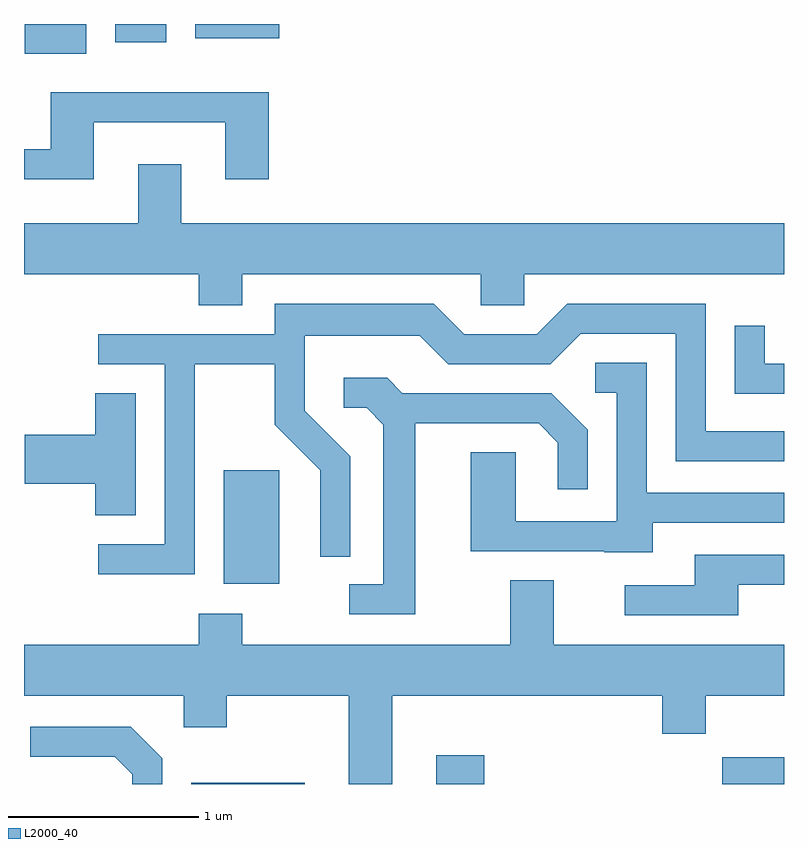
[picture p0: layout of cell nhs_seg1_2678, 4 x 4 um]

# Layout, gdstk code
import gdstk
lib = gdstk.Library(unit=1e-6, precision=1e-09)
def R(c, l, rs):  # rectangles x0, y0, x1, y1
    for r in rs: c.add(gdstk.rectangle(r[:2], r[2:], *l))
def P(c, l, *ps):  # polygons
    for p in ps: c.add(gdstk.Polygon(p, *l))
L2000_40 = (2000, 40)

nhs_seg1_2678 = lib.new_cell('nhs_seg1_2678')
R(nhs_seg1_2678, L2000_40, [(266.491,965.712,267.089,965.719), (267.781,965.712,268.034,965.864), (269.286,965.712,269.611,965.854), (266.661,966.766,266.954,967.364), (265.616,969.556,265.939,969.712), (266.091,969.616,266.359,969.712), (266.511,969.636,266.954,969.712)])
P(nhs_seg1_2678, L2000_40, [(265.979,969.196),(266.671,969.196),(266.671,968.896),(266.899,968.896),(266.899,969.354),(265.751,969.354),(265.751,969.054),(265.611,969.054),(265.611,968.896),(265.979,968.896)],
  [(266.759,968.396),(268.016,968.396),(268.016,968.231),(268.244,968.231),(268.244,968.396),(269.611,968.396),(269.611,968.664),(266.439,968.664),(266.439,968.974),(266.211,968.974),(266.211,968.664),(265.611,968.664),(265.611,968.396),(266.531,968.396),(266.531,968.231),(266.759,968.231)],
  [(266.509,967.921),(266.931,967.921),(266.931,967.604),(267.171,967.364),(267.171,966.908),(267.329,966.908),(267.329,967.437),(267.089,967.677),(267.089,968.071),(267.694,968.071),(267.844,967.921),(268.382,967.921),(268.542,968.081),(269.041,968.081),(269.041,967.411),(269.611,967.411),(269.611,967.569),(269.199,967.569),(269.199,968.239),(268.469,968.239),(268.309,968.079),(267.927,968.079),(267.767,968.239),(266.931,968.239),(266.931,968.079),(266.003,968.079),(266.003,967.921),(266.351,967.921),(266.351,966.974),(266.003,966.974),(266.003,966.816),(266.509,966.816)],
  [(269.611,967.924),(269.509,967.924),(269.509,968.123),(269.351,968.123),(269.351,967.766),(269.611,967.766)],
  [(268.919,967.086),(269.611,967.086),(269.611,967.244),(268.889,967.244),(268.889,967.929),(268.618,967.929),(268.618,967.771),(268.731,967.771),(268.731,967.094),(268.199,967.094),(268.199,967.459),(267.961,967.459),(267.961,966.936),(268.665,966.936),(268.665,966.931),(268.919,966.931)],
  [(267.669,967.611),(268.319,967.611),(268.421,967.509),(268.421,967.263),(268.579,967.263),(268.579,967.577),(268.387,967.769),(267.602,967.769),(267.522,967.849),(267.293,967.849),(267.293,967.691),(267.414,967.691),(267.501,967.604),(267.501,966.764),(267.323,966.764),(267.323,966.606),(267.669,966.606)],
  [(266.199,967.769),(265.986,967.769),(265.986,967.549),(265.616,967.549),(265.616,967.291),(265.986,967.291),(265.986,967.126),(266.199,967.126)],
  [(269.369,966.761),(269.611,966.761),(269.611,966.919),(269.141,966.919),(269.141,966.759),(268.773,966.759),(268.773,966.601),(269.369,966.601)],
  [(267.549,966.176),(268.971,966.176),(268.971,965.976),(269.199,965.976),(269.199,966.176),(269.611,966.176),(269.611,966.444),(268.399,966.444),(268.399,966.784),(268.171,966.784),(268.171,966.444),(266.759,966.444),(266.759,966.609),(266.531,966.609),(266.531,966.444),(265.611,966.444),(265.611,966.176),(266.451,966.176),(266.451,966.011),(266.679,966.011),(266.679,966.176),(267.321,966.176),(267.321,965.712),(267.549,965.712)],
  [(266.339,965.847),(266.172,966.014),(265.643,966.014),(265.643,965.856),(266.089,965.856),(266.181,965.764),(266.181,965.712),(266.339,965.712)])

lib.write_gds('nhs_seg1_2678.gds')
